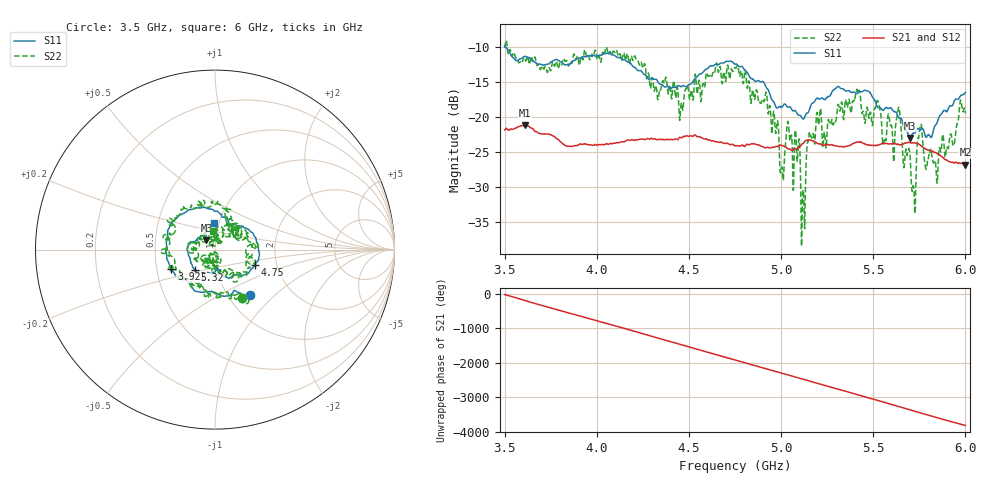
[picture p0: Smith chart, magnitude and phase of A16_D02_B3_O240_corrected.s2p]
! Created with skrf 1.9.0 (http://scikit-rf.org).
# Hz S RI R 50.0
!freq ReS11 ImS11 ReS21 ImS21 ReS12 ImS12 ReS22 ImS22
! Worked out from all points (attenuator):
!   1601 points, 3.5 GHz to 6 GHz, reference 50 ohm
!   highest |S21| = -21.21 dB at 3.611 GHz (marker M1); lowest = -26.8 dB at 6 GHz (marker M2)
!   lowest |S11| = -23.0 dB at 5.698 GHz (marker M3), VSWR 1.15, Z = 45.2 + j4.75 ohm
!   |S11| at or under -10 dB: 3.504 GHz to end of sweep
!   |S22| runs from -38.4 to -9.1 dB; largest |S21 - S12| = 0.00095
!   S11 on the Smith chart (normalised r, x): 3.5 GHz: 1.25, -0.71; 3.922 GHz: 0.60, -0.14; 4.75 GHz: 1.54, -0.28; 5.32 GHz: 0.78, -0.18; 6 GHz: 0.94, +0.29
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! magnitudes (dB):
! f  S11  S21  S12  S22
! 3.5 GHz  -9.9  -21.9  -21.9  -10.2
! 3.611 GHz  -11.4  -21.2  -21.2  -11.8
! 3.917 GHz  -11.6  -23.9  -23.9  -11.4
! 3.922 GHz  -11.5  -23.9  -23.9  -11.8
! 4.211 GHz  -13.1  -23.3  -23.3  -11.6
! 4.334 GHz  -15.1  -23.2  -23.2  -17.3
! 4.458 GHz  -15.7  -23.0  -22.9  -18.2
! 4.75 GHz  -12.5  -24.2  -24.1  -13.0
! 4.927 GHz  -16.0  -24.3  -24.3  -18.5
! 5.005 GHz  -18.5  -24.1  -24.1  -27.1
! 5.034 GHz  -18.6  -24.5  -24.4  -20.9
! 5.088 GHz  -19.6  -24.5  -24.5  -26.4
! 5.119 GHz  -20.3  -23.8  -23.7  -30.4
! 5.167 GHz  -18.1  -23.4  -23.4  -23.0
! 5.32 GHz  -15.9  -24.3  -24.2  -19.1
! 5.584 GHz  -18.8  -23.9  -23.8  -19.6
! 5.638 GHz  -20.1  -23.9  -23.9  -18.7
! 5.698 GHz  -23.0  -23.6  -23.6  -25.1
! 5.719 GHz  -22.3  -23.7  -23.7  -29.9
! 5.752 GHz  -21.9  -24.0  -23.9  -21.8
! 5.839 GHz  -21.2  -25.1  -25.1  -26.7
! 6 GHz  -16.5  -26.8  -26.7  -19.5
